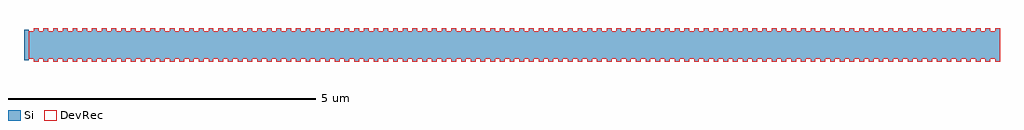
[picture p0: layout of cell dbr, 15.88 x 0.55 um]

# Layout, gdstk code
import gdstk
lib = gdstk.Library(unit=1e-6, precision=1e-09)
def R(c, l, rs):  # rectangles x0, y0, x1, y1
    for r in rs: c.add(gdstk.rectangle(r[:2], r[2:], *l))
Si = (1, 0)
DevRec = (68, 0)

straight_2d14dd39 = lib.new_cell('straight_2d14dd39')
R(straight_2d14dd39, Si, [(0,-0.25,0.079,0.25)])

straight_69f38322 = lib.new_cell('straight_69f38322')
R(straight_69f38322, Si, [(0,-0.225,0.079,0.225)])
R(straight_69f38322, DevRec, [(0,-0.225,0.079,0.225)])

straight_3665e31f = lib.new_cell('straight_3665e31f')
R(straight_3665e31f, Si, [(0,-0.275,0.079,0.275)])
R(straight_3665e31f, DevRec, [(0,-0.275,0.079,0.275)])

dbr_cell_da3bb528 = lib.new_cell('dbr_cell_da3bb528')
dbr_cell_da3bb528.add(gdstk.Reference(straight_69f38322, (0,0)))
dbr_cell_da3bb528.add(gdstk.Reference(straight_3665e31f, (0.079,0)))

dbr_4c53b14a = lib.new_cell('dbr_4c53b14a')
r = gdstk.Reference(dbr_cell_da3bb528, (0,0)); r.repetition = gdstk.Repetition(100, 1, v1=(0.158,0), v2=(0,100)); dbr_4c53b14a.add(r)

dbr = lib.new_cell('dbr')
dbr.add(gdstk.Reference(straight_2d14dd39, (-0.079,0)))
dbr.add(gdstk.Reference(dbr_4c53b14a, (0,0)))

lib.write_gds('dbr.gds')
